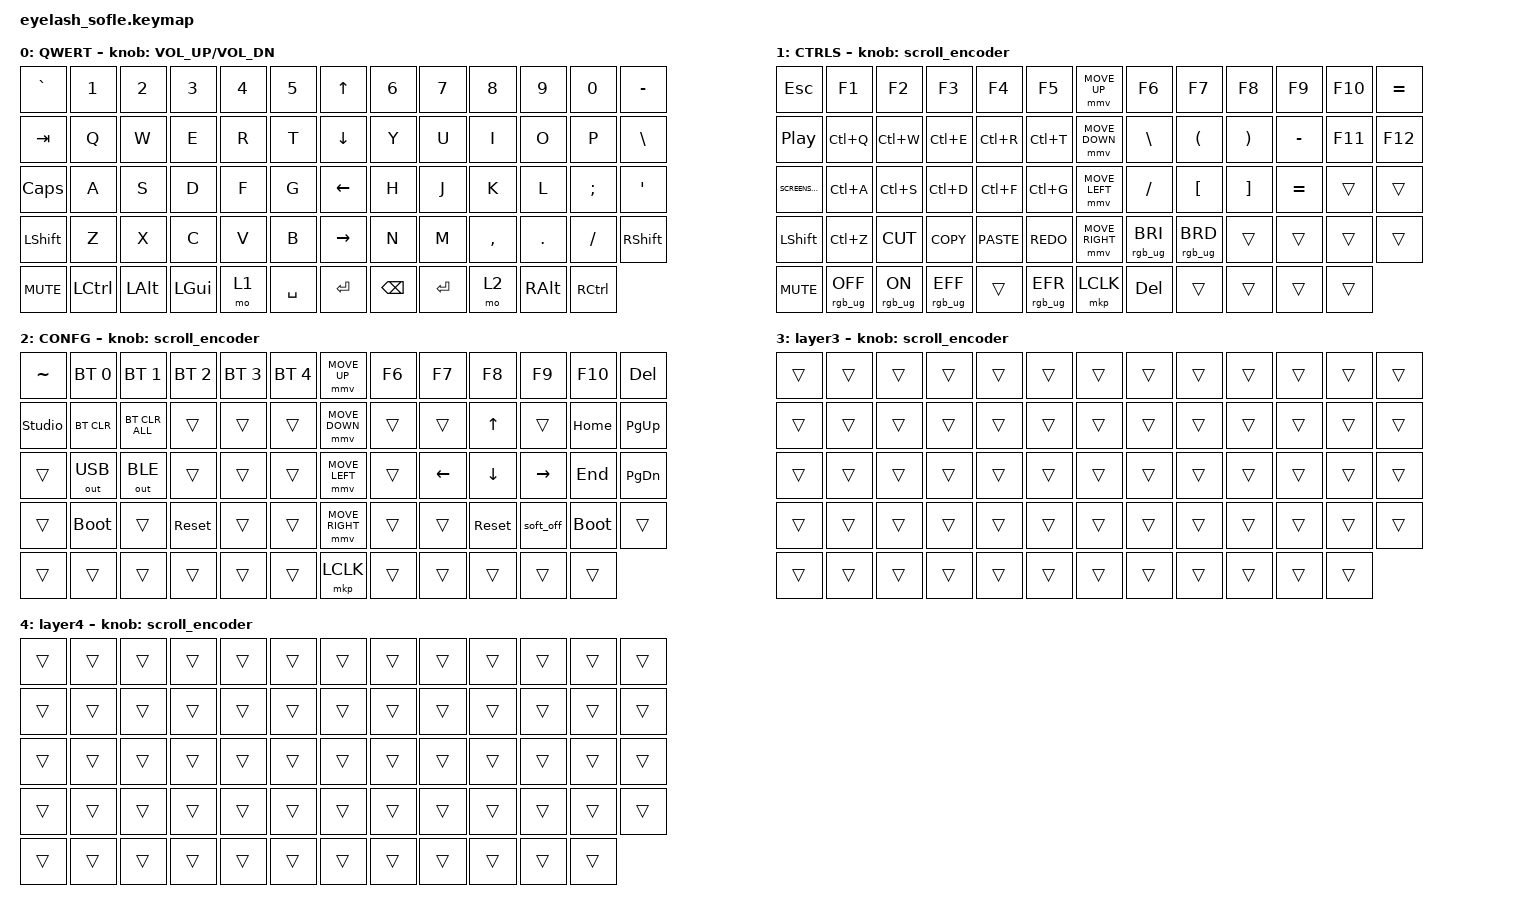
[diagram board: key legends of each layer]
#define ZMK_POINTING_DEFAULT_MOVE_VAL 1200  // 600
#define ZMK_POINTING_DEFAULT_SCRL_VAL 25    // 10

#include <input/processors.dtsi>
#include <zephyr/dt-bindings/input/input-event-codes.h>
#include <behaviors.dtsi>
#include <dt-bindings/zmk/bt.h>
#include <dt-bindings/zmk/keys.h>
#include <dt-bindings/zmk/outputs.h>
#include <dt-bindings/zmk/pointing.h>
#include <dt-bindings/zmk/rgb.h>

&mmv_input_listener { input-processors = <&zip_xy_scaler 2 1>; };

&msc_input_listener { input-processors = <&zip_scroll_scaler 2 1>; };

&msc {
    acceleration-exponent = <1>;    // 0
    time-to-max-speed-ms  = <100>;  // 300
    delay-ms              = <0>;    // 0
};

&mmv {
    time-to-max-speed-ms  = <500>;
    acceleration-exponent = <1>;
    trigger-period-ms     = <16>;
};

&soft_off { hold-time-ms = <2000>; };

/ {
    scroll_encoder: scroll_encoder {
        compatible            = "zmk,behavior-sensor-rotate";
        #sensor-binding-cells = <0>;
        bindings              = <&msc SCRL_DOWN>, <&msc SCRL_UP>;

        tap-ms = <100>;
    };

    behaviors {
    };

    combos {
        compatible = "zmk,combos";

        softoff {
            bindings      = <&soft_off>;
            key-positions = <14 28 40>;
        };
    };

    macros {
        SHIFT_MCLK: SHIFT_MCLK {
            compatible     = "zmk,behavior-macro";
            #binding-cells = <0>;
            bindings       = 
                <&macro_press>,
                <&kp LEFT_SHIFT>,
                <&macro_press>,
                <&mkp MB3>,
                <&macro_pause_for_release>,
                <&macro_release>,
                <&kp LEFT_SHIFT &mkp MB3>;

            label = "SHIFT_MCLK";
        };
    };

    keymap {
        compatible = "zmk,keymap";

        layer0 {
            bindings = <
&kp GRAVE     &kp N1     &kp N2        &kp N3        &kp N4  &kp N5       &kp UP_ARROW     &kp N6         &kp N7     &kp N8     &kp N9           &kp N0      &kp MINUS
&kp TAB       &kp Q      &kp W         &kp E         &kp R   &kp T        &kp DOWN_ARROW   &kp Y          &kp U      &kp I      &kp O            &kp P       &kp BSLH
&kp CAPS      &kp A      &kp S         &kp D         &kp F   &kp G        &kp LEFT_ARROW   &kp H          &kp J      &kp K      &kp L            &kp SEMI    &kp APOS
&kp LSHFT     &kp Z      &kp X         &kp C         &kp V   &kp B        &kp RIGHT_ARROW  &kp N          &kp M      &kp COMMA  &kp DOT          &kp FSLH    &kp RIGHT_SHIFT
&kp C_MUTE    &kp LCTRL  &kp LEFT_ALT  &kp LEFT_GUI  &mo 1   &kp SPACE    &kp ENTER        &kp BACKSPACE  &kp ENTER  &mo 2      &kp RALT         &kp RCTRL
            >;

            sensor-bindings = <&inc_dec_kp C_VOLUME_UP C_VOL_DN>;
            display-name    = "QWERT";
        };

        layer_1 {
            bindings = <
&kp ESC               &kp F1           &kp F2          &kp F3           &kp F4           &kp F5             &mmv MOVE_UP     &kp F6           &kp F7           &kp F8      &kp F9     &kp F10          &kp EQUAL
&kp C_PLAY_PAUSE      &kp LC(Q)        &kp LC(W)       &kp LC(E)        &kp LC(R)        &kp LC(T)          &mmv MOVE_DOWN   &kp BSLH         &kp LPAR         &kp RPAR    &kp MINUS  &kp F11          &kp F12
&kp K_SCREENSAVER     &kp LC(A)        &kp LC(S)       &kp LC(D)        &kp LC(F)        &kp LC(G)          &mmv MOVE_LEFT   &kp FSLH         &kp LBKT         &kp RBKT    &kp EQUAL  &trans           &trans
&kp LSHFT             &kp LC(Z)        &kp K_CUT       &kp K_COPY       &kp K_PASTE      &kp K_REDO         &mmv MOVE_RIGHT  &rgb_ug RGB_BRI  &rgb_ug RGB_BRD  &trans      &trans     &trans           &trans
&kp C_MUTE            &rgb_ug RGB_OFF  &rgb_ug RGB_ON  &rgb_ug RGB_EFF  &trans           &rgb_ug RGB_EFR    &mkp LCLK        &kp DELETE       &trans           &trans      &trans     &trans
            >;

            display-name    = "CTRLS";
            sensor-bindings = <&scroll_encoder>;
        };

        layer_2 {
            bindings = <
&kp TILDE        &bt BT_SEL 0  &bt BT_SEL 1    &bt BT_SEL 2  &bt BT_SEL 3  &bt BT_SEL 4    &mmv MOVE_UP     &kp F6  &kp F7    &kp F8      &kp F9     &kp F10      &kp DELETE
&studio_unlock   &bt BT_CLR    &bt BT_CLR_ALL  &trans        &trans        &trans          &mmv MOVE_DOWN   &trans  &trans    &kp UP      &trans     &kp HOME     &kp PG_UP
&trans           &out OUT_USB  &out OUT_BLE    &trans        &trans        &trans          &mmv MOVE_LEFT   &trans  &kp LEFT  &kp DOWN    &kp RIGHT  &kp END      &kp PG_DN
&trans           &bootloader   &trans          &sys_reset    &trans        &trans          &mmv MOVE_RIGHT  &trans  &trans    &sys_reset  &soft_off  &bootloader  &trans
&trans           &trans        &trans          &trans        &trans        &trans          &mkp LCLK        &trans  &trans    &trans      &trans     &trans
            >;

            display-name    = "CONFG";
            sensor-bindings = <&scroll_encoder>;
        };

        layer_3 {
            bindings = <
&trans  &trans  &trans  &trans  &trans  &trans    &trans  &trans  &trans  &trans  &trans  &trans  &trans
&trans  &trans  &trans  &trans  &trans  &trans    &trans  &trans  &trans  &trans  &trans  &trans  &trans
&trans  &trans  &trans  &trans  &trans  &trans    &trans  &trans  &trans  &trans  &trans  &trans  &trans
&trans  &trans  &trans  &trans  &trans  &trans    &trans  &trans  &trans  &trans  &trans  &trans  &trans
&trans  &trans  &trans  &trans  &trans  &trans    &trans  &trans  &trans  &trans  &trans  &trans
            >;

            display-name    = "layer3";
            sensor-bindings = <&scroll_encoder>;
        };

        layer_4 {
            bindings = <
&trans  &trans  &trans  &trans  &trans  &trans    &trans  &trans  &trans  &trans  &trans  &trans  &trans
&trans  &trans  &trans  &trans  &trans  &trans    &trans  &trans  &trans  &trans  &trans  &trans  &trans
&trans  &trans  &trans  &trans  &trans  &trans    &trans  &trans  &trans  &trans  &trans  &trans  &trans
&trans  &trans  &trans  &trans  &trans  &trans    &trans  &trans  &trans  &trans  &trans  &trans  &trans
&trans  &trans  &trans  &trans  &trans  &trans    &trans  &trans  &trans  &trans  &trans  &trans
            >;

            display-name    = "layer4";
            sensor-bindings = <&scroll_encoder>;
        };
    };
};


